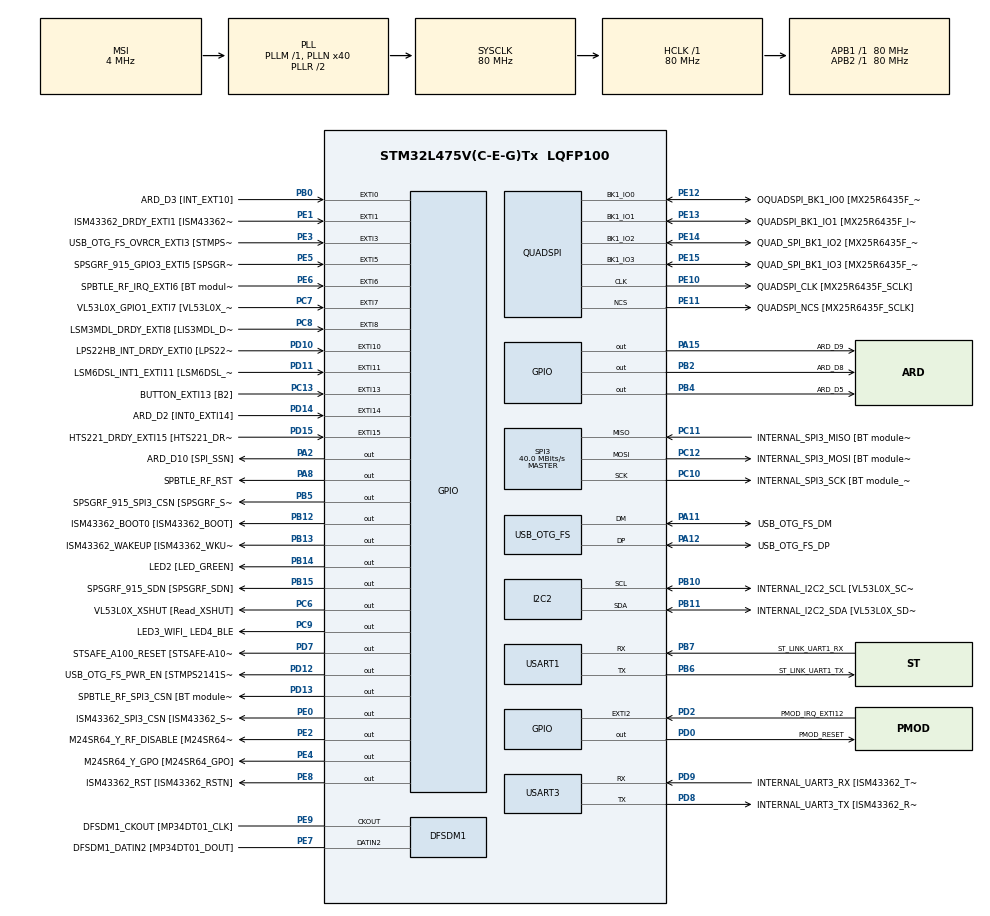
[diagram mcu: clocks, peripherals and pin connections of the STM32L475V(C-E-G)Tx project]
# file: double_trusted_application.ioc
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Mcu.Family=STM32L4
Mcu.Name=STM32L475V(C-E-G)Tx
Mcu.Package=LQFP100
NVIC.EXTI15_10_IRQn=true\:0\:0\:false\:false\:true\:true\:true\:true
NVIC.EXTI9_5_IRQn=true\:0\:0\:false\:false\:true\:true\:true\:true
NVIC.PriorityGroup=NVIC_PRIORITYGROUP_4
PA0.GPIO_Label=ARD_D1 [UART4_TX]
PA0.Signal=UART4_TX
PA1.GPIO_Label=ARD_D0 [UART4_RX]
PA1.Signal=UART4_RX
PA10.GPIO_Label=USB_OTG_FS_ID
PA10.Signal=USB_OTG_FS_ID
PA11.GPIO_Label=USB_OTG_FS_DM
PA11.Mode=Device_Only
PA11.Signal=USB_OTG_FS_DM
PA12.GPIO_Label=USB_OTG_FS_DP
PA12.Mode=Device_Only
PA12.Signal=USB_OTG_FS_DP
PA13\ (JTMS-SWDIO).GPIO_Label=SYS_JTMS_SWDIO
PA13\ (JTMS-SWDIO).Mode=Serial_Wire
PA13\ (JTMS-SWDIO).Signal=SYS_JTMS-SWDIO
PA14\ (JTCK-SWCLK).GPIO_Label=SYS_JTCK_SWCLK
PA14\ (JTCK-SWCLK).Mode=Serial_Wire
PA14\ (JTCK-SWCLK).Signal=SYS_JTCK-SWCLK
PA15\ (JTDI).GPIO_Label=ARD_D9
PA15\ (JTDI).Signal=GPIO_Output
PA2.GPIO_Label=ARD_D10 [SPI_SSN]
PA2.Signal=GPIO_Output
PA3.GPIO_Label=ARD_D4
PA3.Signal=S_TIM2_CH4
PA4.GPIO_Label=ARD_D7
PA4.Signal=ADCx_IN9
PA5.GPIO_Label=ARD_D13 [SPI1_SCK]
PA5.Signal=SPI1_SCK
PA6.GPIO_Label=ARD_D12 [SPI1_MISO]
PA6.Signal=SPI1_MISO
PA7.GPIO_Label=ARD_D11 [SPI1_MOSI]
PA7.Signal=SPI1_MOSI
PA8.GPIO_Label=SPBTLE_RF_RST
PA8.Signal=GPIO_Output
PA9.GPIO_Label=USB_OTG_FS_VBUS [STMPS2141STR_OUT]
PA9.Signal=USB_OTG_FS_VBUS
PB0.GPIO_Label=ARD_D3 [INT_EXT10]
PB0.Signal=GPXTI0
PB1.GPIO_Label=ARD_D6 [ADC1_IN6]
PB1.Signal=ADCx_IN16
PB10.GPIO_Label=INTERNAL_I2C2_SCL [VL53L0X_SCL]
PB10.GPIO_Pu=GPIO_PULLUP
PB10.Mode=I2C
PB10.Signal=I2C2_SCL
PB11.GPIO_Label=INTERNAL_I2C2_SDA [VL53L0X_SDA]
PB11.GPIO_Pu=GPIO_PULLUP
PB11.Mode=I2C
PB11.Signal=I2C2_SDA
PB12.GPIO_Label=ISM43362_BOOT0 [ISM43362_BOOT]
PB12.Signal=GPIO_Output
PB13.GPIO_Label=ISM43362_WAKEUP [ISM43362_WKUP]
PB13.Signal=GPIO_Output
PB14.GPIO_Label=LED2 [LED_GREEN]
PB14.Signal=GPIO_Output
PB15.GPIO_Label=SPSGRF_915_SDN [SPSGRF_SDN]
PB15.Signal=GPIO_Output
PB2.GPIO_Label=ARD_D8
PB2.Signal=GPIO_Output
PB3\ (JTDO-TRACESWO).GPIO_Label=SYS_JTD0_SWO
PB3\ (JTDO-TRACESWO).Signal=SYS_JTDO-SWO
PB4\ (NJTRST).GPIO_Label=ARD_D5
PB4\ (NJTRST).Signal=GPIO_Output
PB5.GPIO_Label=SPSGRF_915_SPI3_CSN [SPSGRF_SPI_CS]
PB5.PinState=GPIO_PIN_SET
PB5.Signal=GPIO_Output
PB6.GPIO_Label=ST_LINK_UART1_TX
PB6.Mode=Asynchronous
PB6.Signal=USART1_TX
PB7.GPIO_Label=ST_LINK_UART1_RX
PB7.Mode=Asynchronous
PB7.Signal=USART1_RX
PB8.GPIO_Label=ARD_D15 [I2C1_SCL]
PB8.Signal=I2C1_SCL
PB9.GPIO_Label=ARD_D14 [I2C1_SDA]
PB9.Signal=I2C1_SDA
PC0.GPIO_Label=ARD_A5 [ADC]
PC0.Signal=ADCx_IN1
PC1.GPIO_Label=ARD_A4 [ADC]
PC1.Signal=ADCx_IN2
PC10.GPIO_Label=INTERNAL_SPI3_SCK [BT module_SPI_SCLK] [ISM43362_SCK]
PC10.Mode=Full_Duplex_Master
PC10.Signal=SPI3_SCK
PC11.GPIO_Label=INTERNAL_SPI3_MISO [BT module_SPI_MISO] [ISM43362_MISO]
PC11.Mode=Full_Duplex_Master
PC11.Signal=SPI3_MISO
PC12.GPIO_Label=INTERNAL_SPI3_MOSI [BT module_SPI_MOSI] [ISM43362_MOSI]
PC12.Mode=Full_Duplex_Master
PC12.Signal=SPI3_MOSI
PC13.GPIO_Label=BUTTON_EXTI13 [B2]
PC13.GPIO_ModeDefaultEXTI=GPIO_MODE_IT_FALLING
PC13.Signal=GPXTI13
PC14-OSC32_IN\ (PC14).Mode=LSE-External-Oscillator
PC14-OSC32_IN\ (PC14).Signal=RCC_OSC32_IN
PC15-OSC32_OUT\ (PC15).Mode=LSE-External-Oscillator
PC15-OSC32_OUT\ (PC15).Signal=RCC_OSC32_OUT
PC2.GPIO_Label=ARD_A3 [ADC]
PC2.Signal=ADCx_IN3
PC3.GPIO_Label=ARD_A2 [ADC]
PC3.Signal=ADCx_IN4
PC4.GPIO_Label=ARD_A1 [ADC]
PC4.Signal=ADCx_IN13
PC5.GPIO_Label=ARD_A0 [ADC]
PC5.Signal=ADCx_IN14
PC6.GPIO_Label=VL53L0X_XSHUT [Read_XSHUT]
PC6.Signal=GPIO_Output
PC7.GPIO_Label=VL53L0X_GPIO1_EXTI7 [VL53L0X_GPIO1]
PC7.Signal=GPXTI7
PC8.GPIO_Label=LSM3MDL_DRDY_EXTI8 [LIS3MDL_DRDY]
PC8.Signal=GPXTI8
PC9.GPIO_Label=LED3_WIFI_ LED4_BLE
PC9.Signal=GPIO_Output
PD0.GPIO_Label=PMOD_RESET
PD0.Signal=GPIO_Output
PD1.GPIO_Label=PMOD_SPI2_SCK
PD1.Signal=SPI2_SCK
PD10.GPIO_Label=LPS22HB_INT_DRDY_EXTI0 [LPS22HB_INT_DRDY] 
PD10.Signal=GPXTI10
PD11.GPIO_Label=LSM6DSL_INT1_EXTI11 [LSM6DSL_INT1]
PD11.Signal=GPXTI11
PD12.GPIO_Label=USB_OTG_FS_PWR_EN [STMPS2141STR_EN]
PD12.Signal=GPIO_Output
PD13.GPIO_Label=SPBTLE_RF_SPI3_CSN [BT module_SPI_CS]
PD13.PinState=GPIO_PIN_SET
PD13.Signal=GPIO_Output
PD14.GPIO_Label=ARD_D2 [INT0_EXTI14]
PD14.Signal=GPXTI14
PD15.GPIO_Label=HTS221_DRDY_EXTI15 [HTS221_DRDY]
PD15.Signal=GPXTI15
PD2.GPIO_Label=PMOD_IRQ_EXTI12
PD2.Signal=GPXTI2
PD3.GPIO_Label=PMOD_UART2_CTS
PD3.Signal=USART2_CTS
PD4.GPIO_Label=PMOD_UART2_RTS
PD4.Signal=USART2_RTS
PD5.GPIO_Label=PMOD_UART2_TX
PD5.Signal=USART2_TX
PD6.GPIO_Label=PMOD_UART2_RX
PD6.Signal=USART2_RX
PD7.GPIO_Label=STSAFE_A100_RESET [STSAFE-A100_RESET]
PD7.Signal=GPIO_Output
PD8.GPIO_Label=INTERNAL_UART3_TX [ISM43362_RX]
PD8.Mode=Asynchronous
PD8.Signal=USART3_TX
PD9.GPIO_Label=INTERNAL_UART3_RX [ISM43362_TX]
PD9.Mode=Asynchronous
PD9.Signal=USART3_RX
PE0.GPIO_Label=ISM43362_SPI3_CSN [ISM43362_SSN]
PE0.PinState=GPIO_PIN_SET
PE0.Signal=GPIO_Output
PE1.GPIO_Label=ISM43362_DRDY_EXTI1 [ISM43362_DATARDY]
PE1.Signal=GPXTI1
PE10.GPIO_Label=QUADSPI_CLK [MX25R6435F_SCLK]
PE10.Mode=Single Bank
PE10.Signal=QUADSPI_CLK
PE11.GPIO_Label=QUADSPI_NCS [MX25R6435F_SCLK]
PE11.Mode=Single Bank
PE11.Signal=QUADSPI_NCS
PE12.GPIO_Label=OQUADSPI_BK1_IO0 [MX25R6435F_IO0]
PE12.Mode=Single Bank
PE12.Signal=QUADSPI_BK1_IO0
PE13.GPIO_Label=QUADSPI_BK1_IO1 [MX25R6435F_IO1]
PE13.Mode=Single Bank
PE13.Signal=QUADSPI_BK1_IO1
PE14.GPIO_Label=QUAD_SPI_BK1_IO2 [MX25R6435F_IO2]
PE14.Mode=Single Bank
PE14.Signal=QUADSPI_BK1_IO2
PE15.GPIO_Label=QUAD_SPI_BK1_IO3 [MX25R6435F_IO3]
PE15.Mode=Single Bank
PE15.Signal=QUADSPI_BK1_IO3
PE2.GPIO_Label=M24SR64_Y_RF_DISABLE [M24SR64_RFDIS]
PE2.Signal=GPIO_Output
PE3.GPIO_Label=USB_OTG_FS_OVRCR_EXTI3 [STMPS2141STR_FAULT]
PE3.Signal=GPXTI3
PE4.GPIO_Label=M24SR64_Y_GPO [M24SR64_GPO]
PE4.Signal=GPIO_Output
PE5.GPIO_Label=SPSGRF_915_GPIO3_EXTI5 [SPSGRF_GPIO_3]
PE5.Signal=GPXTI5
PE6.GPIO_Label=SPBTLE_RF_IRQ_EXTI6 [BT module_SPI_IRQ]
PE6.Signal=GPXTI6
PE7.GPIO_Label=DFSDM1_DATIN2 [MP34DT01_DOUT]
PE7.Signal=S_DATAIN2DFSDM1
PE8.GPIO_Label=ISM43362_RST [ISM43362_RSTN]
PE8.Signal=GPIO_Output
PE9.GPIO_Label=DFSDM1_CKOUT [MP34DT01_CLK]
PE9.Signal=S_CKOUTDFSDM1
ProjectManager.HeapSize=0x200
ProjectManager.StackSize=0x400
ProjectManager.TargetToolchain=STM32CubeIDE
QUADSPI.ClockPrescaler=2
QUADSPI.FifoThreshold=4
QUADSPI.FlashSize=23
QUADSPI.SampleShifting=QSPI_SAMPLE_SHIFTING_HALFCYCLE
RCC.ADCFreq_Value=48000000
RCC.AHBFreq_Value=80000000
RCC.APB1Freq_Value=80000000
RCC.APB1TimFreq_Value=80000000
RCC.APB2Freq_Value=80000000
RCC.APB2TimFreq_Value=80000000
RCC.CortexFreq_Value=80000000
RCC.HCLKFreq_Value=80000000
RCC.HSE_VALUE=8000000
RCC.HSI_VALUE=16000000
RCC.MSI_VALUE=4000000
RCC.PLLN=40
RCC.PLLSAI1N=24
RCC.SYSCLKFreq_VALUE=80000000
RCC.SYSCLKSource=RCC_SYSCLKSOURCE_PLLCLK
RCC.USBFreq_Value=48000000
RCC.VCOOutputFreq_Value=160000000
SH.ADCx_IN1.0=ADC1_IN1
SH.ADCx_IN13.0=ADC1_IN13
SH.ADCx_IN14.0=ADC1_IN14
SH.ADCx_IN16.0=ADC1_IN16
SH.ADCx_IN2.0=ADC1_IN2
SH.ADCx_IN3.0=ADC1_IN3
SH.ADCx_IN4.0=ADC1_IN4
SH.ADCx_IN9.0=ADC1_IN9
SH.S_CKOUTDFSDM1.0=DFSDM1_CKOUT,CKOUT
SH.S_CKOUTDFSDM1.1=DFSDM1_CKOUT,PDM_SPI_Input_from_ch12_and_Internal_Clock
SH.S_DATAIN2DFSDM1.0=DFSDM1_DATIN2,PDM_SPI_Input_from_ch12_and_Internal_Clock
SH.S_TIM2_CH4.0=TIM2_CH4
SPI3.CalculateBaudRate=40.0 MBits/s
SPI3.Direction=SPI_DIRECTION_2LINES
SPI3.Mode=SPI_MODE_MASTER
SPI3.VirtualType=VM_MASTER
USART1.VirtualMode-Asynchronous=VM_ASYNC
USART3.VirtualMode-Asynchronous=VM_ASYNC
USB_OTG_FS.VirtualMode=Device_Only
VP_RNG_VS_RNG.Mode=RNG_Activate
board=B-L475E-IOT01A1

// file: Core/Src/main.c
/* USER CODE BEGIN Header */
/**
  ******************************************************************************
  * @file           : main.c
  * @brief          : Main program body
  ******************************************************************************
  * @attention
  *
  * Copyright (c) 2024 STMicroelectronics.
  * All rights reserved.
  *
  * This software is licensed under terms that can be found in the LICENSE file
  * in the root directory of this software component.
  * If no LICENSE file comes with this software, it is provided AS-IS.
  *
  ******************************************************************************
  */
/* USER CODE END Header */
#include "main.h"

/* USER CODE BEGIN Includes */
#include "tee_client_api.h"

/* USER CODE END Includes */

DFSDM_Channel_HandleTypeDef hdfsdm1_channel1;

I2C_HandleTypeDef hi2c2;

QSPI_HandleTypeDef hqspi;

RNG_HandleTypeDef hrng;

SPI_HandleTypeDef hspi3;

UART_HandleTypeDef huart1;
UART_HandleTypeDef huart3;

PCD_HandleTypeDef hpcd_USB_OTG_FS;

void SystemClock_Config(void);
void PeriphCommonClock_Config(void);
static void MX_GPIO_Init(void);
static void MX_DFSDM1_Init(void);
static void MX_I2C2_Init(void);
static void MX_QUADSPI_Init(void);
static void MX_SPI3_Init(void);
static void MX_USART1_UART_Init(void);
static void MX_USART3_UART_Init(void);
static void MX_USB_OTG_FS_PCD_Init(void);
static void MX_RNG_Init(void);

/* USER CODE BEGIN 0 */
static TEEC_Result ta_invoke_command(TEEC_Session sess, uint32_t cmd_id, uint32_t err_origin) {

	TEEC_Operation op;
	TEEC_Result res;

	// Clear the TEEC_Operation struct, same as clearing parameter type
	memset(&op, 0, sizeof(op));

	// Defining the parameter value sent to TA, the parameter are
	op.paramTypes = TEEC_PARAM_TYPES(TEEC_NONE, TEEC_NONE, TEEC_NONE, TEEC_NONE);

	res = TEEC_InvokeCommand(&sess, cmd_id, &op, &err_origin);
	if (res != TEEC_SUCCESS) {
		ERR_MSG("TEEC_InvokeCommand failed with code 0x%x origin 0x%x\r\n", res, err_origin);
		return TEEC_FAILED;
	}

	return TEEC_SUCCESS;
}
/* USER CODE END 0 */

int main(void)
{

  /* MCU Configuration--------------------------------------------------------*/

  /* Reset of all peripherals, Initializes the Flash interface and the Systick. */
  HAL_Init();

  /* Configure the system clock */
  SystemClock_Config();

  /* Configure the peripherals common clocks */
  PeriphCommonClock_Config();

  /* Initialize all configured peripherals */
  MX_GPIO_Init();
  MX_DFSDM1_Init();
  MX_I2C2_Init();
  MX_QUADSPI_Init();
  MX_SPI3_Init();
  MX_USART1_UART_Init();
  MX_USART3_UART_Init();
  MX_USB_OTG_FS_PCD_Init();
  MX_RNG_Init();
  /* USER CODE BEGIN 2 */

  TEEC_Result res;
  // Declare context and session variables for TA1
  TEEC_Context ctx;
  TEEC_Session sess;
  TEEC_UUID uuid = { 0x8aaaf200, 0x2450, 0x11e4, \
			{ 0xab, 0xe2, 0x00, 0x02, 0xa5, 0xd5, 0xc5, 0x1b} };

  TEEC_Context ctx2;
  TEEC_Session sess2;
  TEEC_UUID uuid2 = { 0x8aaaf201, 0x2451, 0x11e4, \
	     { 0xab, 0xe2, 0x00, 0x02, 0xa5, 0xd5, 0xc5, 0x1b} };

  uint32_t err_origin;

  // Initiliaze context of TA1
  res = TEEC_InitializeContext(NULL, &ctx);
  if (res != TEEC_SUCCESS) {
	  ERR_MSG("TEEC_InitializeContext for TA1 failed with code 0x%x\r\n", res);
      goto error;
  }

  // Open session with TA1
  res = TEEC_OpenSession(&ctx, &sess, &uuid, TEEC_LOGIN_PUBLIC, NULL, NULL, &err_origin);
  if (res != TEEC_SUCCESS) {
	  ERR_MSG("TEEC_Opensession for TA1 failed with code 0x%x origin 0x%x\r\n", res, err_origin);
	  goto error;
  }

  res = TEEC_InitializeContext(NULL, &ctx2);
  if (res != TEEC_SUCCESS) {
	  ERR_MSG("TEEC_InitializeContext for TA2 failed with code 0x%x\r\n", res);
      goto error;
  }

  // Open session with TA1
  res = TEEC_OpenSession(&ctx2, &sess2, &uuid2, TEEC_LOGIN_PUBLIC, NULL, NULL, &err_origin);
  if (res != TEEC_SUCCESS) {
	  ERR_MSG("TEEC_Opensession for TA2 failed with code 0x%x origin 0x%x\r\n", res, err_origin);
  	  goto error;
  }

  // Invoke command 1 for TA1
  res = ta_invoke_command(sess, 1, err_origin);
  if (res != TEEC_SUCCESS) {
  	  ERR_MSG("TEEC_InvokeCommand 1 for TA1 failed with code 0x%x\r\n", res);
       goto error;
  }

  // Invoke command 5 for TA2
  res = ta_invoke_command(sess2, 5, err_origin);
  if (res != TEEC_SUCCESS) {
	  ERR_MSG("TEEC_InvokeCommand 5 for TA2 failed with code 0x%x\r\n", res);
      goto error;
   }

  // Invoke command 1 for TA2
  res = ta_invoke_command(sess2, 1, err_origin);
  if (res != TEEC_SUCCESS) {
	  ERR_MSG("TEEC_InvokeCommand 1 for TA2 failed with code 0x%x\r\n", res);
	  goto error;
  }

  // Invoke command 1 for TA1
  res = ta_invoke_command(sess, 2, err_origin);
  if (res != TEEC_SUCCESS) {
	  ERR_MSG("TEEC_InvokeCommand 2 for TA2 failed with code 0x%x\r\n", res);
	  goto error;
  }

  // Close session for TA1
  TEEC_CloseSession(&sess);

  // Finalize context for TA1
  TEEC_FinalizeContext(&ctx);

  // Close session for TA2
  TEEC_CloseSession(&sess2);

  // Finalize context for TA2
  TEEC_FinalizeContext(&ctx2);

  /* USER CODE END 2 */

  /* Infinite loop */
  while (1)
  {

    /* USER CODE BEGIN 3 */
  }

error:
	ERR_MSG("end");

  /* USER CODE END 3 */
}

void SystemClock_Config(void)
{
  RCC_OscInitTypeDef RCC_OscInitStruct = {0};
  RCC_ClkInitTypeDef RCC_ClkInitStruct = {0};

  /** Configure the main internal regulator output voltage
  */
  if (HAL_PWREx_ControlVoltageScaling(PWR_REGULATOR_VOLTAGE_SCALE1) != HAL_OK)
  {
    Error_Handler();
  }

  /** Configure LSE Drive Capability
  */
  HAL_PWR_EnableBkUpAccess();
  __HAL_RCC_LSEDRIVE_CONFIG(RCC_LSEDRIVE_LOW);

  /** Initializes the RCC Oscillators according to the specified parameters
  * in the RCC_OscInitTypeDef structure.
  */

  /* MSI is enabled after System reset, activate PLL with MSI as source */
  RCC_OscInitStruct.OscillatorType = RCC_OSCILLATORTYPE_MSI;
  RCC_OscInitStruct.MSIState = RCC_MSI_ON;
  RCC_OscInitStruct.MSIClockRange = RCC_MSIRANGE_6;
  RCC_OscInitStruct.MSICalibrationValue = RCC_MSICALIBRATION_DEFAULT;
  RCC_OscInitStruct.PLL.PLLState = RCC_PLL_ON;
  RCC_OscInitStruct.PLL.PLLSource = RCC_PLLSOURCE_MSI;
  RCC_OscInitStruct.PLL.PLLM = 1;
  RCC_OscInitStruct.PLL.PLLN = 40;
  RCC_OscInitStruct.PLL.PLLR = 2;
  RCC_OscInitStruct.PLL.PLLP = 7;
  RCC_OscInitStruct.PLL.PLLQ = 4;
  if(HAL_RCC_OscConfig(&RCC_OscInitStruct) != HAL_OK)
  {
    /* Initialization Error */
    Error_Handler();
  }

  /* Select PLL as system clock source and configure the HCLK, PCLK1 and PCLK2 clocks dividers */
  RCC_ClkInitStruct.ClockType = (RCC_CLOCKTYPE_SYSCLK | RCC_CLOCKTYPE_HCLK | RCC_CLOCKTYPE_PCLK1 | RCC_CLOCKTYPE_PCLK2);
  RCC_ClkInitStruct.SYSCLKSource = RCC_SYSCLKSOURCE_PLLCLK;
  RCC_ClkInitStruct.AHBCLKDivider = RCC_SYSCLK_DIV1;
  RCC_ClkInitStruct.APB1CLKDivider = RCC_HCLK_DIV1;
  RCC_ClkInitStruct.APB2CLKDivider = RCC_HCLK_DIV1;
  if(HAL_RCC_ClockConfig(&RCC_ClkInitStruct, FLASH_LATENCY_4) != HAL_OK)
  {
    /* Initialization Error */
    Error_Handler();
  }

  /** Enable MSI Auto calibration
  */
  HAL_RCCEx_EnableMSIPLLMode();
}

void PeriphCommonClock_Config(void)
{
  RCC_PeriphCLKInitTypeDef PeriphClkInit = {0};

  /** Initializes the peripherals clock
  */
  PeriphClkInit.PeriphClockSelection = RCC_PERIPHCLK_USB|RCC_PERIPHCLK_RNG;
  PeriphClkInit.UsbClockSelection = RCC_USBCLKSOURCE_PLLSAI1;
  PeriphClkInit.RngClockSelection = RCC_RNGCLKSOURCE_PLLSAI1;
  PeriphClkInit.PLLSAI1.PLLSAI1Source = RCC_PLLSOURCE_MSI;
  PeriphClkInit.PLLSAI1.PLLSAI1M = 1;
  PeriphClkInit.PLLSAI1.PLLSAI1N = 24;
  PeriphClkInit.PLLSAI1.PLLSAI1P = RCC_PLLP_DIV7;
  PeriphClkInit.PLLSAI1.PLLSAI1Q = RCC_PLLQ_DIV2;
  PeriphClkInit.PLLSAI1.PLLSAI1R = RCC_PLLR_DIV2;
  PeriphClkInit.PLLSAI1.PLLSAI1ClockOut = RCC_PLLSAI1_48M2CLK;
  if (HAL_RCCEx_PeriphCLKConfig(&PeriphClkInit) != HAL_OK)
  {
    Error_Handler();
  }
}

static void MX_DFSDM1_Init(void)
{

  hdfsdm1_channel1.Instance = DFSDM1_Channel1;
  hdfsdm1_channel1.Init.OutputClock.Activation = ENABLE;
  hdfsdm1_channel1.Init.OutputClock.Selection = DFSDM_CHANNEL_OUTPUT_CLOCK_SYSTEM;
  hdfsdm1_channel1.Init.OutputClock.Divider = 2;
  hdfsdm1_channel1.Init.Input.Multiplexer = DFSDM_CHANNEL_EXTERNAL_INPUTS;
  hdfsdm1_channel1.Init.Input.DataPacking = DFSDM_CHANNEL_STANDARD_MODE;
  hdfsdm1_channel1.Init.Input.Pins = DFSDM_CHANNEL_FOLLOWING_CHANNEL_PINS;
  hdfsdm1_channel1.Init.SerialInterface.Type = DFSDM_CHANNEL_SPI_RISING;
  hdfsdm1_channel1.Init.SerialInterface.SpiClock = DFSDM_CHANNEL_SPI_CLOCK_INTERNAL;
  hdfsdm1_channel1.Init.Awd.FilterOrder = DFSDM_CHANNEL_FASTSINC_ORDER;
  hdfsdm1_channel1.Init.Awd.Oversampling = 1;
  hdfsdm1_channel1.Init.Offset = 0;
  hdfsdm1_channel1.Init.RightBitShift = 0x00;
  if (HAL_DFSDM_ChannelInit(&hdfsdm1_channel1) != HAL_OK)
  {
    Error_Handler();
  }

}

static void MX_I2C2_Init(void)
{

  hi2c2.Instance = I2C2;
  hi2c2.Init.Timing = 0x00000E14;
  hi2c2.Init.OwnAddress1 = 0;
  hi2c2.Init.AddressingMode = I2C_ADDRESSINGMODE_7BIT;
  hi2c2.Init.DualAddressMode = I2C_DUALADDRESS_DISABLE;
  hi2c2.Init.OwnAddress2 = 0;
  hi2c2.Init.OwnAddress2Masks = I2C_OA2_NOMASK;
  hi2c2.Init.GeneralCallMode = I2C_GENERALCALL_DISABLE;
  hi2c2.Init.NoStretchMode = I2C_NOSTRETCH_DISABLE;
  if (HAL_I2C_Init(&hi2c2) != HAL_OK)
  {
    Error_Handler();
  }

  /** Configure Analogue filter
  */
  if (HAL_I2CEx_ConfigAnalogFilter(&hi2c2, I2C_ANALOGFILTER_ENABLE) != HAL_OK)
  {
    Error_Handler();
  }

  /** Configure Digital filter
  */
  if (HAL_I2CEx_ConfigDigitalFilter(&hi2c2, 0) != HAL_OK)
  {
    Error_Handler();
  }

}

static void MX_QUADSPI_Init(void)
{

  /* QUADSPI parameter configuration*/
  hqspi.Instance = QUADSPI;
  hqspi.Init.ClockPrescaler = 2;
  hqspi.Init.FifoThreshold = 4;
  hqspi.Init.SampleShifting = QSPI_SAMPLE_SHIFTING_HALFCYCLE;
  hqspi.Init.FlashSize = 23;
  hqspi.Init.ChipSelectHighTime = QSPI_CS_HIGH_TIME_1_CYCLE;
  hqspi.Init.ClockMode = QSPI_CLOCK_MODE_0;
  if (HAL_QSPI_Init(&hqspi) != HAL_OK)
  {
    Error_Handler();
  }

}

static void MX_RNG_Init(void)
{

  hrng.Instance = RNG;
  if (HAL_RNG_Init(&hrng) != HAL_OK)
  {
    Error_Handler();
  }

}

static void MX_SPI3_Init(void)
{

  /* SPI3 parameter configuration*/
  hspi3.Instance = SPI3;
  hspi3.Init.Mode = SPI_MODE_MASTER;
  hspi3.Init.Direction = SPI_DIRECTION_2LINES;
  hspi3.Init.DataSize = SPI_DATASIZE_4BIT;
  hspi3.Init.CLKPolarity = SPI_POLARITY_LOW;
  hspi3.Init.CLKPhase = SPI_PHASE_1EDGE;
  hspi3.Init.NSS = SPI_NSS_SOFT;
  hspi3.Init.BaudRatePrescaler = SPI_BAUDRATEPRESCALER_2;
  hspi3.Init.FirstBit = SPI_FIRSTBIT_MSB;
  hspi3.Init.TIMode = SPI_TIMODE_DISABLE;
  hspi3.Init.CRCCalculation = SPI_CRCCALCULATION_DISABLE;
  hspi3.Init.CRCPolynomial = 7;
  hspi3.Init.CRCLength = SPI_CRC_LENGTH_DATASIZE;
  hspi3.Init.NSSPMode = SPI_NSS_PULSE_ENABLE;
  if (HAL_SPI_Init(&hspi3) != HAL_OK)
  {
    Error_Handler();
  }

}

static void MX_USART1_UART_Init(void)
{

  huart1.Instance = USART1;
  huart1.Init.BaudRate = 115200;
  huart1.Init.WordLength = UART_WORDLENGTH_8B;
  huart1.Init.StopBits = UART_STOPBITS_1;
  huart1.Init.Parity = UART_PARITY_NONE;
  huart1.Init.Mode = UART_MODE_TX_RX;
  huart1.Init.HwFlowCtl = UART_HWCONTROL_NONE;
  huart1.Init.OverSampling = UART_OVERSAMPLING_16;
  huart1.Init.OneBitSampling = UART_ONE_BIT_SAMPLE_DISABLE;
  huart1.AdvancedInit.AdvFeatureInit = UART_ADVFEATURE_NO_INIT;
  if (HAL_UART_Init(&huart1) != HAL_OK)
  {
    Error_Handler();
  }

}

static void MX_USART3_UART_Init(void)
{

  huart3.Instance = USART3;
  huart3.Init.BaudRate = 115200;
  huart3.Init.WordLength = UART_WORDLENGTH_8B;
  huart3.Init.StopBits = UART_STOPBITS_1;
  huart3.Init.Parity = UART_PARITY_NONE;
  huart3.Init.Mode = UART_MODE_TX_RX;
  huart3.Init.HwFlowCtl = UART_HWCONTROL_NONE;
  huart3.Init.OverSampling = UART_OVERSAMPLING_16;
  huart3.Init.OneBitSampling = UART_ONE_BIT_SAMPLE_DISABLE;
  huart3.AdvancedInit.AdvFeatureInit = UART_ADVFEATURE_NO_INIT;
  if (HAL_UART_Init(&huart3) != HAL_OK)
  {
    Error_Handler();
  }

}

static void MX_USB_OTG_FS_PCD_Init(void)
{

  hpcd_USB_OTG_FS.Instance = USB_OTG_FS;
  hpcd_USB_OTG_FS.Init.dev_endpoints = 6;
  hpcd_USB_OTG_FS.Init.speed = PCD_SPEED_FULL;
  hpcd_USB_OTG_FS.Init.phy_itface = PCD_PHY_EMBEDDED;
  hpcd_USB_OTG_FS.Init.Sof_enable = DISABLE;
  hpcd_USB_OTG_FS.Init.low_power_enable = DISABLE;
  hpcd_USB_OTG_FS.Init.lpm_enable = DISABLE;
  hpcd_USB_OTG_FS.Init.battery_charging_enable = DISABLE;
  hpcd_USB_OTG_FS.Init.use_dedicated_ep1 = DISABLE;
  hpcd_USB_OTG_FS.Init.vbus_sensing_enable = DISABLE;
  if (HAL_PCD_Init(&hpcd_USB_OTG_FS) != HAL_OK)
  {
    Error_Handler();
  }

}

static void MX_GPIO_Init(void)
{
  GPIO_InitTypeDef GPIO_InitStruct = {0};

  /* GPIO Ports Clock Enable */
  __HAL_RCC_GPIOE_CLK_ENABLE();
  __HAL_RCC_GPIOC_CLK_ENABLE();
  __HAL_RCC_GPIOA_CLK_ENABLE();
  __HAL_RCC_GPIOB_CLK_ENABLE();
  __HAL_RCC_GPIOD_CLK_ENABLE();

  /*Configure GPIO pin Output Level */
  HAL_GPIO_WritePin(GPIOE, M24SR64_Y_RF_DISABLE_Pin|M24SR64_Y_GPO_Pin|ISM43362_RST_Pin, GPIO_PIN_RESET);

  /*Configure GPIO pin Output Level */
  HAL_GPIO_WritePin(GPIOA, ARD_D10_Pin|SPBTLE_RF_RST_Pin|ARD_D9_Pin, GPIO_PIN_RESET);

  /*Configure GPIO pin Output Level */
  HAL_GPIO_WritePin(GPIOB, ARD_D8_Pin|ISM43362_BOOT0_Pin|ISM43362_WAKEUP_Pin|LED2_Pin
                          |SPSGRF_915_SDN_Pin|ARD_D5_Pin, GPIO_PIN_RESET);

  /*Configure GPIO pin Output Level */
  HAL_GPIO_WritePin(GPIOD, USB_OTG_FS_PWR_EN_Pin|PMOD_RESET_Pin|STSAFE_A100_RESET_Pin, GPIO_PIN_RESET);

  /*Configure GPIO pin Output Level */
  HAL_GPIO_WritePin(SPBTLE_RF_SPI3_CSN_GPIO_Port, SPBTLE_RF_SPI3_CSN_Pin, GPIO_PIN_SET);

  /*Configure GPIO pin Output Level */
  HAL_GPIO_WritePin(GPIOC, VL53L0X_XSHUT_Pin|LED3_WIFI__LED4_BLE_Pin, GPIO_PIN_RESET);

  /*Configure GPIO pin Output Level */
  HAL_GPIO_WritePin(SPSGRF_915_SPI3_CSN_GPIO_Port, SPSGRF_915_SPI3_CSN_Pin, GPIO_PIN_SET);

  /*Configure GPIO pin Output Level */
  HAL_GPIO_WritePin(ISM43362_SPI3_CSN_GPIO_Port, ISM43362_SPI3_CSN_Pin, GPIO_PIN_SET);

  /*Configure GPIO pins : M24SR64_Y_RF_DISABLE_Pin M24SR64_Y_GPO_Pin ISM43362_RST_Pin ISM43362_SPI3_CSN_Pin */
  GPIO_InitStruct.Pin = M24SR64_Y_RF_DISABLE_Pin|M24SR64_Y_GPO_Pin|ISM43362_RST_Pin|ISM43362_SPI3_CSN_Pin;
  GPIO_InitStruct.Mode = GPIO_MODE_OUTPUT_PP;
  GPIO_InitStruct.Pull = GPIO_NOPULL;
  GPIO_InitStruct.Speed = GPIO_SPEED_FREQ_LOW;
  HAL_GPIO_Init(GPIOE, &GPIO_InitStruct);

  /*Configure GPIO pins : USB_OTG_FS_OVRCR_EXTI3_Pin SPSGRF_915_GPIO3_EXTI5_Pin SPBTLE_RF_IRQ_EXTI6_Pin ISM43362_DRDY_EXTI1_Pin */
  GPIO_InitStruct.Pin = USB_OTG_FS_OVRCR_EXTI3_Pin|SPSGRF_915_GPIO3_EXTI5_Pin|SPBTLE_RF_IRQ_EXTI6_Pin|ISM43362_DRDY_EXTI1_Pin;
  GPIO_InitStruct.Mode = GPIO_MODE_IT_RISING;
  GPIO_InitStruct.Pull = GPIO_NOPULL;
  HAL_GPIO_Init(GPIOE, &GPIO_InitStruct);

  /*Configure GPIO pin : BUTTON_EXTI13_Pin */
  GPIO_InitStruct.Pin = BUTTON_EXTI13_Pin;
  GPIO_InitStruct.Mode = GPIO_MODE_IT_FALLING;
  GPIO_InitStruct.Pull = GPIO_NOPULL;
  HAL_GPIO_Init(BUTTON_EXTI13_GPIO_Port, &GPIO_InitStruct);

  /*Configure GPIO pins : ARD_A5_Pin ARD_A4_Pin ARD_A3_Pin ARD_A2_Pin
                           ARD_A1_Pin ARD_A0_Pin */
  GPIO_InitStruct.Pin = ARD_A5_Pin|ARD_A4_Pin|ARD_A3_Pin|ARD_A2_Pin
                          |ARD_A1_Pin|ARD_A0_Pin;
  GPIO_InitStruct.Mode = GPIO_MODE_ANALOG_ADC_CONTROL;
  GPIO_InitStruct.Pull = GPIO_NOPULL;
  HAL_GPIO_Init(GPIOC, &GPIO_InitStruct);

  /*Configure GPIO pins : ARD_D1_Pin ARD_D0_Pin */
  GPIO_InitStruct.Pin = ARD_D1_Pin|ARD_D0_Pin;
  GPIO_InitStruct.Mode = GPIO_MODE_AF_PP;
  GPIO_InitStruct.Pull = GPIO_NOPULL;
  GPIO_InitStruct.Speed = GPIO_SPEED_FREQ_VERY_HIGH;
  GPIO_InitStruct.Alternate = GPIO_AF8_UART4;
  HAL_GPIO_Init(GPIOA, &GPIO_InitStruct);

  /*Configure GPIO pins : ARD_D10_Pin SPBTLE_RF_RST_Pin ARD_D9_Pin */
  GPIO_InitStruct.Pin = ARD_D10_Pin|SPBTLE_RF_RST_Pin|ARD_D9_Pin;
  GPIO_InitStruct.Mode = GPIO_MODE_OUTPUT_PP;
  GPIO_InitStruct.Pull = GPIO_NOPULL;
  GPIO_InitStruct.Speed = GPIO_SPEED_FREQ_LOW;
  HAL_GPIO_Init(GPIOA, &GPIO_InitStruct);

  /*Configure GPIO pin : ARD_D4_Pin */
  GPIO_InitStruct.Pin = ARD_D4_Pin;
  GPIO_InitStruct.Mode = GPIO_MODE_AF_PP;
  GPIO_InitStruct.Pull = GPIO_NOPULL;
  GPIO_InitStruct.Speed = GPIO_SPEED_FREQ_LOW;
  GPIO_InitStruct.Alternate = GPIO_AF1_TIM2;
  HAL_GPIO_Init(ARD_D4_GPIO_Port, &GPIO_InitStruct);

  /*Configure GPIO pin : ARD_D7_Pin */
  GPIO_InitStruct.Pin = ARD_D7_Pin;
  GPIO_InitStruct.Mode = GPIO_MODE_ANALOG_ADC_CONTROL;
  GPIO_InitStruct.Pull = GPIO_NOPULL;
  HAL_GPIO_Init(ARD_D7_GPIO_Port, &GPIO_InitStruct);

  /*Configure GPIO pins : ARD_D13_Pin ARD_D12_Pin ARD_D11_Pin */
  GPIO_InitStruct.Pin = ARD_D13_Pin|ARD_D12_Pin|ARD_D11_Pin;
  GPIO_InitStruct.Mode = GPIO_MODE_AF_PP;
  GPIO_InitStruct.Pull = GPIO_NOPULL;
  GPIO_InitStruct.Speed = GPIO_SPEED_FREQ_VERY_HIGH;
  GPIO_InitStruct.Alternate = GPIO_AF5_SPI1;
  HAL_GPIO_Init(GPIOA, &GPIO_InitStruct);

  /*Configure GPIO pin : ARD_D3_Pin */
  GPIO_InitStruct.Pin = ARD_D3_Pin;
  GPIO_InitStruct.Mode = GPIO_MODE_IT_RISING;
  GPIO_InitStruct.Pull = GPIO_NOPULL;
  HAL_GPIO_Init(ARD_D3_GPIO_Port, &GPIO_InitStruct);

  /*Configure GPIO pin : ARD_D6_Pin */
  GPIO_InitStruct.Pin = ARD_D6_Pin;
  GPIO_InitStruct.Mode = GPIO_MODE_ANALOG_ADC_CONTROL;
  GPIO_InitStruct.Pull = GPIO_NOPULL;
  HAL_GPIO_Init(ARD_D6_GPIO_Port, &GPIO_InitStruct);

  /*Configure GPIO pins : ARD_D8_Pin ISM43362_BOOT0_Pin ISM43362_WAKEUP_Pin LED2_Pin
                           SPSGRF_915_SDN_Pin ARD_D5_Pin SPSGRF_915_SPI3_CSN_Pin */
  GPIO_InitStruct.Pin = ARD_D8_Pin|ISM43362_BOOT0_Pin|ISM43362_WAKEUP_Pin|LED2_Pin
                          |SPSGRF_915_SDN_Pin|ARD_D5_Pin|SPSGRF_915_SPI3_CSN_Pin;
  GPIO_InitStruct.Mode = GPIO_MODE_OUTPUT_PP;
  GPIO_InitStruct.Pull = GPIO_NOPULL;
  GPIO_InitStruct.Speed = GPIO_SPEED_FREQ_LOW;
  HAL_GPIO_Init(GPIOB, &GPIO_InitStruct);

  /*Configure GPIO pins : LPS22HB_INT_DRDY_EXTI0_Pin LSM6DSL_INT1_EXTI11_Pin ARD_D2_Pin HTS221_DRDY_EXTI15_Pin
                           PMOD_IRQ_EXTI12_Pin */
  GPIO_InitStruct.Pin = LPS22HB_INT_DRDY_EXTI0_Pin|LSM6DSL_INT1_EXTI11_Pin|ARD_D2_Pin|HTS221_DRDY_EXTI15_Pin
                          |PMOD_IRQ_EXTI12_Pin;
  GPIO_InitStruct.Mode = GPIO_MODE_IT_RISING;
  GPIO_InitStruct.Pull = GPIO_NOPULL;
  HAL_GPIO_Init(GPIOD, &GPIO_InitStruct);

  /*Configure GPIO pins : USB_OTG_FS_PWR_EN_Pin SPBTLE_RF_SPI3_CSN_Pin PMOD_RESET_Pin STSAFE_A100_RESET_Pin */
  GPIO_InitStruct.Pin = USB_OTG_FS_PWR_EN_Pin|SPBTLE_RF_SPI3_CSN_Pin|PMOD_RESET_Pin|STSAFE_A100_RESET_Pin;
  GPIO_InitStruct.Mode = GPIO_MODE_OUTPUT_PP;
  GPIO_InitStruct.Pull = GPIO_NOPULL;
  GPIO_InitStruct.Speed = GPIO_SPEED_FREQ_LOW;
  HAL_GPIO_Init(GPIOD, &GPIO_InitStruct);

  /*Configure GPIO pins : VL53L0X_XSHUT_Pin LED3_WIFI__LED4_BLE_Pin */
  GPIO_InitStruct.Pin = VL53L0X_XSHUT_Pin|LED3_WIFI__LED4_BLE_Pin;
  GPIO_InitStruct.Mode = GPIO_MODE_OUTPUT_PP;
  GPIO_InitStruct.Pull = GPIO_NOPULL;
  GPIO_InitStruct.Speed = GPIO_SPEED_FREQ_LOW;
  HAL_GPIO_Init(GPIOC, &GPIO_InitStruct);

  /*Configure GPIO pins : VL53L0X_GPIO1_EXTI7_Pin LSM3MDL_DRDY_EXTI8_Pin */
  GPIO_InitStruct.Pin = VL53L0X_GPIO1_EXTI7_Pin|LSM3MDL_DRDY_EXTI8_Pin;
  GPIO_InitStruct.Mode = GPIO_MODE_IT_RISING;
  GPIO_InitStruct.Pull = GPIO_NOPULL;
  HAL_GPIO_Init(GPIOC, &GPIO_InitStruct);

  /*Configure GPIO pin : PMOD_SPI2_SCK_Pin */
  GPIO_InitStruct.Pin = PMOD_SPI2_SCK_Pin;
  GPIO_InitStruct.Mode = GPIO_MODE_AF_PP;
  GPIO_InitStruct.Pull = GPIO_NOPULL;
  GPIO_InitStruct.Speed = GPIO_SPEED_FREQ_VERY_HIGH;
  GPIO_InitStruct.Alternate = GPIO_AF5_SPI2;
  HAL_GPIO_Init(PMOD_SPI2_SCK_GPIO_Port, &GPIO_InitStruct);

  /*Configure GPIO pins : PMOD_UART2_CTS_Pin PMOD_UART2_RTS_Pin PMOD_UART2_TX_Pin PMOD_UART2_RX_Pin */
  GPIO_InitStruct.Pin = PMOD_UART2_CTS_Pin|PMOD_UART2_RTS_Pin|PMOD_UART2_TX_Pin|PMOD_UART2_RX_Pin;
  GPIO_InitStruct.Mode = GPIO_MODE_AF_PP;
  GPIO_InitStruct.Pull = GPIO_NOPULL;
  GPIO_InitStruct.Speed = GPIO_SPEED_FREQ_VERY_HIGH;
  GPIO_InitStruct.Alternate = GPIO_AF7_USART2;
  HAL_GPIO_Init(GPIOD, &GPIO_InitStruct);

  /*Configure GPIO pins : ARD_D15_Pin ARD_D14_Pin */
  GPIO_InitStruct.Pin = ARD_D15_Pin|ARD_D14_Pin;
  GPIO_InitStruct.Mode = GPIO_MODE_AF_OD;
  GPIO_InitStruct.Pull = GPIO_NOPULL;
  GPIO_InitStruct.Speed = GPIO_SPEED_FREQ_VERY_HIGH;
  GPIO_InitStruct.Alternate = GPIO_AF4_I2C1;
  HAL_GPIO_Init(GPIOB, &GPIO_InitStruct);

  /* EXTI interrupt init*/
  HAL_NVIC_SetPriority(EXTI9_5_IRQn, 0, 0);
  HAL_NVIC_EnableIRQ(EXTI9_5_IRQn);

  HAL_NVIC_SetPriority(EXTI15_10_IRQn, 0, 0);
  HAL_NVIC_EnableIRQ(EXTI15_10_IRQn);

}

void Error_Handler(void)
{
  __disable_irq();
  while (1)
  {
  }
}
